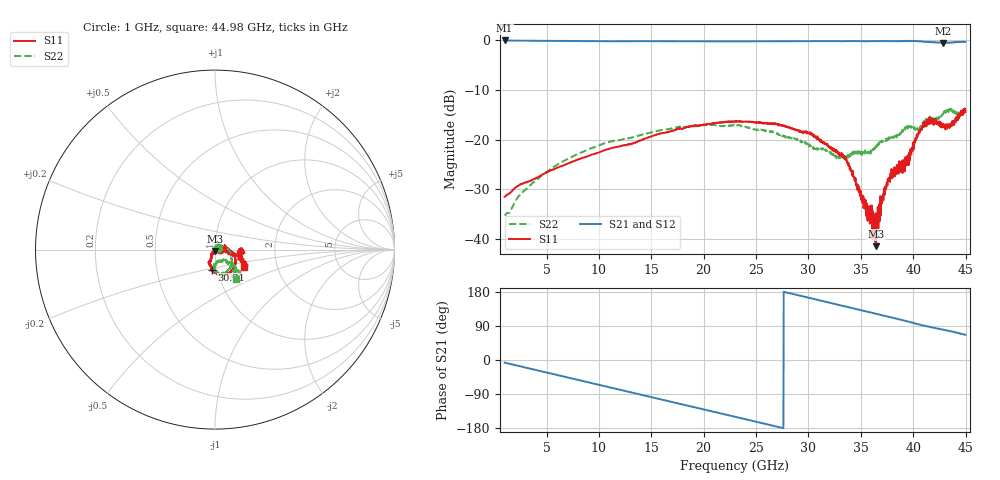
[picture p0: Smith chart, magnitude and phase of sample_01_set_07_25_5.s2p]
!Keysight Technologies,N5247B,MY61255062,A.19.80.06
!Date: Friday, March 13, 2026 16:57:44
!Correction: S11(C  2-Port  )
!S21(C  2-Port  )
!S12(C  2-Port  )
!S22(C  2-Port  )
!S2P File: Measurements: S11, S21, S12, S22:
# Hz S  dB  R 50
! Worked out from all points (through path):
!   1467 points, 1 GHz to 44.98 GHz, reference 50 ohm
!   highest |S21| = -0.15 dB at 1 GHz (marker M1); lowest = -0.6 dB at 42.85 GHz (marker M2)
!   group delay of S21, straight-line fit = 18.1 ps
!   lowest |S11| = -41.4 dB at 36.43 GHz (marker M3), VSWR 1.02, Z = 50 - j0.856 ohm
!   |S11| at or under -10 dB: start of sweep to end of sweep
!   |S22| runs from -35.1 to -13.8 dB; largest |S21 - S12| = 0.0096
!   S11 on the Smith chart (normalised r, x): 1 GHz: 1.05, +0.01; 30.31 GHz: 0.94, -0.21; 44.98 GHz: 1.36, -0.27
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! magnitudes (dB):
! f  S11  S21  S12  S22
! 1 GHz  -31.5  -0.2  -0.2  -35.1
! 1.54 GHz  -30.6  -0.2  -0.2  -34.4
! 2.5 GHz  -28.9  -0.2  -0.2  -31.0
! 4.54 GHz  -27.1  -0.2  -0.2  -27.2
! 8.35 GHz  -23.7  -0.3  -0.3  -22.6
! 15.67 GHz  -18.9  -0.3  -0.3  -18.2
! 22.99 GHz  -16.3  -0.3  -0.3  -17.1
! 26.8 GHz  -16.9  -0.3  -0.3  -18.6
! 30.31 GHz  -19.0  -0.3  -0.3  -21.5
! 30.34 GHz  -18.9  -0.3  -0.3  -21.4
! 33.46 GHz  -23.9  -0.3  -0.3  -23.3
! 35.59 GHz  -33.3  -0.3  -0.3  -22.5
! 36.22 GHz  -37.9  -0.3  -0.3  -21.9
! 36.43 GHz  -41.4  -0.3  -0.3  -21.6
! 37.66 GHz  -28.0  -0.3  -0.3  -19.5
! 39.37 GHz  -23.4  -0.3  -0.3  -17.8
! 40.42 GHz  -18.9  -0.3  -0.3  -18.1
! 41.11 GHz  -17.4  -0.4  -0.4  -16.6
! 42.85 GHz  -17.0  -0.6  -0.6  -14.9
! 43.63 GHz  -17.0  -0.5  -0.5  -14.0
! 44.38 GHz  -15.7  -0.4  -0.4  -14.7
! 44.98 GHz  -14.4  -0.4  -0.4  -14.0
